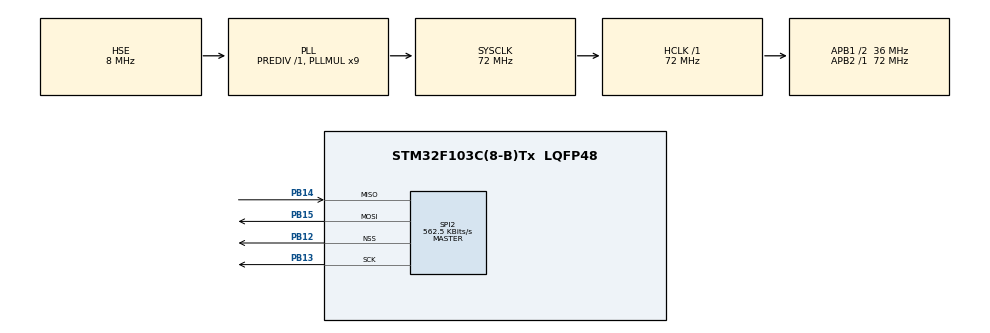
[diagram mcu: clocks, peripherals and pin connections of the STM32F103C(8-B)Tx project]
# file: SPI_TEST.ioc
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Mcu.Family=STM32F1
Mcu.Name=STM32F103C(8-B)Tx
Mcu.Package=LQFP48
NVIC.PriorityGroup=NVIC_PRIORITYGROUP_4
PA13.Mode=Serial_Wire
PA13.Signal=SYS_JTMS-SWDIO
PA14.Mode=Serial_Wire
PA14.Signal=SYS_JTCK-SWCLK
PB12.Mode=NSS_Signal_Hard_Output
PB12.Signal=SPI2_NSS
PB13.Mode=Full_Duplex_Master
PB13.Signal=SPI2_SCK
PB14.Mode=Full_Duplex_Master
PB14.Signal=SPI2_MISO
PB15.Mode=Full_Duplex_Master
PB15.Signal=SPI2_MOSI
PD0-OSC_IN.Mode=HSE-External-Oscillator
PD0-OSC_IN.Signal=RCC_OSC_IN
PD1-OSC_OUT.Mode=HSE-External-Oscillator
PD1-OSC_OUT.Signal=RCC_OSC_OUT
ProjectManager.HeapSize=0x200
ProjectManager.StackSize=0x400
ProjectManager.TargetToolchain=SW4STM32
RCC.AHBFreq_Value=72000000
RCC.APB1CLKDivider=RCC_HCLK_DIV2
RCC.APB1Freq_Value=36000000
RCC.APB1TimFreq_Value=72000000
RCC.APB2Freq_Value=72000000
RCC.APB2TimFreq_Value=72000000
RCC.HCLKFreq_Value=72000000
RCC.PLLMUL=RCC_PLL_MUL9
RCC.PLLSourceVirtual=RCC_PLLSOURCE_HSE
RCC.SYSCLKFreq_VALUE=72000000
RCC.SYSCLKSource=RCC_SYSCLKSOURCE_PLLCLK
RCC.USBFreq_Value=72000000
SPI2.BaudRatePrescaler=SPI_BAUDRATEPRESCALER_64
SPI2.CalculateBaudRate=562.5 KBits/s
SPI2.Direction=SPI_DIRECTION_2LINES
SPI2.Mode=SPI_MODE_MASTER
SPI2.VirtualNSS=VM_NSSHARD
SPI2.VirtualType=VM_MASTER
board=custom

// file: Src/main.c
/* USER CODE BEGIN Header */
/**
  ******************************************************************************
  * @file           : main.c
  * @brief          : Main program body
  ******************************************************************************
  ** This notice applies to any and all portions of this file
  * that are not between comment pairs USER CODE BEGIN and
  * USER CODE END. Other portions of this file, whether
  * inserted by the user or by software development tools
  * are owned by their respective copyright owners.
  *
  * COPYRIGHT(c) 2019 STMicroelectronics
  *
  * Redistribution and use in source and binary forms, with or without modification,
  * are permitted provided that the following conditions are met:
  *   1. Redistributions of source code must retain the above copyright notice,
  *      this list of conditions and the following disclaimer.
  *   2. Redistributions in binary form must reproduce the above copyright notice,
  *      this list of conditions and the following disclaimer in the documentation
  *      and/or other materials provided with the distribution.
  *   3. Neither the name of STMicroelectronics nor the names of its contributors
  *      may be used to endorse or promote products derived from this software
  *      without specific prior written permission.
  *
  * THIS SOFTWARE IS PROVIDED BY THE COPYRIGHT HOLDERS AND CONTRIBUTORS "AS IS"
  * AND ANY EXPRESS OR IMPLIED WARRANTIES, INCLUDING, BUT NOT LIMITED TO, THE
  * IMPLIED WARRANTIES OF MERCHANTABILITY AND FITNESS FOR A PARTICULAR PURPOSE ARE
  * DISCLAIMED. IN NO EVENT SHALL THE COPYRIGHT HOLDER OR CONTRIBUTORS BE LIABLE
  * FOR ANY DIRECT, INDIRECT, INCIDENTAL, SPECIAL, EXEMPLARY, OR CONSEQUENTIAL
  * DAMAGES (INCLUDING, BUT NOT LIMITED TO, PROCUREMENT OF SUBSTITUTE GOODS OR
  * SERVICES; LOSS OF USE, DATA, OR PROFITS; OR BUSINESS INTERRUPTION) HOWEVER
  * CAUSED AND ON ANY THEORY OF LIABILITY, WHETHER IN CONTRACT, STRICT LIABILITY,
  * OR TORT (INCLUDING NEGLIGENCE OR OTHERWISE) ARISING IN ANY WAY OUT OF THE USE
  * OF THIS SOFTWARE, EVEN IF ADVISED OF THE POSSIBILITY OF SUCH DAMAGE.
  *
  ******************************************************************************
  */
/* USER CODE END Header */

#include "main.h"

/* USER CODE BEGIN PD */
#define nop_a5 0x00
//#define nop_a5_response 0xA5
#define read_pos 0x10
#define set_zero_pos 0x70
#define set_zero_pos_success 0x80

/* USER CODE END PD */

SPI_HandleTypeDef hspi2;

/* USER CODE BEGIN PV */
uint16_t data_rec = 0x0000; // received data (encoder) - data has 12 bits (12-bit position encoder)
uint8_t command_rec = 0x00;  //received command (for echo of sent command and nops)
uint8_t buffer = 0x00;

/* USER CODE END PV */

void SystemClock_Config(void);
static void MX_GPIO_Init(void);
static void MX_SPI2_Init(void);
/* USER CODE BEGIN PFP */

void encoder_transmit_command(uint8_t command){ //transmit a command to execute action

	HAL_SPI_TransmitReceive (&hspi2, &command, &command_rec, 1, 100);
//	HAL_GPIO_WritePin (GPIOB, GPIO_PIN_12, 0); // pull the cs pin low
//	HAL_SPI_Transmit(&hspi2, &command, 1, 100);  // transmit the command
//	HAL_Delay(20);
//	HAL_SPI_Receive(&hspi2, &command_rec, 1, 100); //receive command answer
//	HAL_GPIO_WritePin(GPIOB, GPIO_PIN_12, 1); // pull the cs pin high
}

void encoder_transmit_data(uint8_t command){ //transmit a command to read data back

	HAL_GPIO_WritePin (GPIOB, GPIO_PIN_12, 0); // pull the cs pin low
	HAL_SPI_Transmit(&hspi2, &command, 1, 100);  // transmit the command
	HAL_SPI_Receive(&hspi2, &buffer, 1, 100); //receive data answer
	HAL_GPIO_WritePin(GPIOB, GPIO_PIN_12, 1); // pull the cs pin high

}

void encoder_read_pos(){

	encoder_transmit_command(read_pos); //sends read position command and tries to read an echo
	HAL_Delay(10);
	while (command_rec != read_pos){ //echo of the command
		encoder_transmit_command(nop_a5); // keep sending nop commands and read answer
		HAL_Delay(10);
	}
	encoder_transmit_data(nop_a5); //send first nop command after received the 0x10 echo and get msb to data_rec
	data_rec = buffer<<8; //shitf msb
	HAL_Delay(10);
	encoder_transmit_data(nop_a5); //send second nop command after received the 0x10 echo and get lsb to data_rec
	data_rec = data_rec & buffer;
	HAL_Delay(10); //delay in-between reads
}

void encoder_set_zero_pos(){

	int i=0;

	encoder_transmit_command(set_zero_pos); //send set zero pos command and read answer
	HAL_Delay(10);

	for(i=0; (command_rec!= set_zero_pos_success && i<10); i++){ //tries to get a sucess answer until 10 times
		encoder_transmit_command(nop_a5); // keep sending nop commands and read answer
		HAL_Delay(10);
	}
	if (command_rec == set_zero_pos_success){ //checks if got success response
		//enviar via serial que pode ser zerado
	}
	else{
		//enviar via serial que nao pode ser zerado
	}
}

/* USER CODE END PFP */

int main(void)
{

  /* MCU Configuration--------------------------------------------------------*/

  /* Reset of all peripherals, Initializes the Flash interface and the Systick. */
  HAL_Init();

  /* Configure the system clock */
  SystemClock_Config();

  /* Initialize all configured peripherals */
  MX_GPIO_Init();
  MX_SPI2_Init();
  /* USER CODE BEGIN 2 */

  //encoder_set_zero_pos();
  /* USER CODE END 2 */

  /* Infinite loop */
  while (1)
  {

    /* USER CODE BEGIN 3 */
	encoder_read_pos();
	HAL_Delay(500);

  }
  /* USER CODE END 3 */
}

void SystemClock_Config(void)
{
  RCC_OscInitTypeDef RCC_OscInitStruct = {0};
  RCC_ClkInitTypeDef RCC_ClkInitStruct = {0};

  /**Initializes the CPU, AHB and APB busses clocks
  */
  RCC_OscInitStruct.OscillatorType = RCC_OSCILLATORTYPE_HSE;
  RCC_OscInitStruct.HSEState = RCC_HSE_ON;
  RCC_OscInitStruct.HSEPredivValue = RCC_HSE_PREDIV_DIV1;
  RCC_OscInitStruct.HSIState = RCC_HSI_ON;
  RCC_OscInitStruct.PLL.PLLState = RCC_PLL_ON;
  RCC_OscInitStruct.PLL.PLLSource = RCC_PLLSOURCE_HSE;
  RCC_OscInitStruct.PLL.PLLMUL = RCC_PLL_MUL9;
  if (HAL_RCC_OscConfig(&RCC_OscInitStruct) != HAL_OK)
  {
    Error_Handler();
  }
  /**Initializes the CPU, AHB and APB busses clocks
  */
  RCC_ClkInitStruct.ClockType = RCC_CLOCKTYPE_HCLK|RCC_CLOCKTYPE_SYSCLK
                              |RCC_CLOCKTYPE_PCLK1|RCC_CLOCKTYPE_PCLK2;
  RCC_ClkInitStruct.SYSCLKSource = RCC_SYSCLKSOURCE_PLLCLK;
  RCC_ClkInitStruct.AHBCLKDivider = RCC_SYSCLK_DIV1;
  RCC_ClkInitStruct.APB1CLKDivider = RCC_HCLK_DIV2;
  RCC_ClkInitStruct.APB2CLKDivider = RCC_HCLK_DIV1;

  if (HAL_RCC_ClockConfig(&RCC_ClkInitStruct, FLASH_LATENCY_2) != HAL_OK)
  {
    Error_Handler();
  }
}

static void MX_SPI2_Init(void)
{

  /* SPI2 parameter configuration*/
  hspi2.Instance = SPI2;
  hspi2.Init.Mode = SPI_MODE_MASTER;
  hspi2.Init.Direction = SPI_DIRECTION_2LINES;
  hspi2.Init.DataSize = SPI_DATASIZE_8BIT;
  hspi2.Init.CLKPolarity = SPI_POLARITY_LOW;
  hspi2.Init.CLKPhase = SPI_PHASE_1EDGE;
  hspi2.Init.NSS = SPI_NSS_HARD_OUTPUT;
  hspi2.Init.BaudRatePrescaler = SPI_BAUDRATEPRESCALER_64;
  hspi2.Init.FirstBit = SPI_FIRSTBIT_MSB;
  hspi2.Init.TIMode = SPI_TIMODE_DISABLE;
  hspi2.Init.CRCCalculation = SPI_CRCCALCULATION_DISABLE;
  hspi2.Init.CRCPolynomial = 10;
  if (HAL_SPI_Init(&hspi2) != HAL_OK)
  {
    Error_Handler();
  }

}

static void MX_GPIO_Init(void)
{

  /* GPIO Ports Clock Enable */
  __HAL_RCC_GPIOD_CLK_ENABLE();
  __HAL_RCC_GPIOB_CLK_ENABLE();
  __HAL_RCC_GPIOA_CLK_ENABLE();

}

void Error_Handler(void)
{
}

/************************ (C) COPYRIGHT STMicroelectronics *****END OF FILE****/
